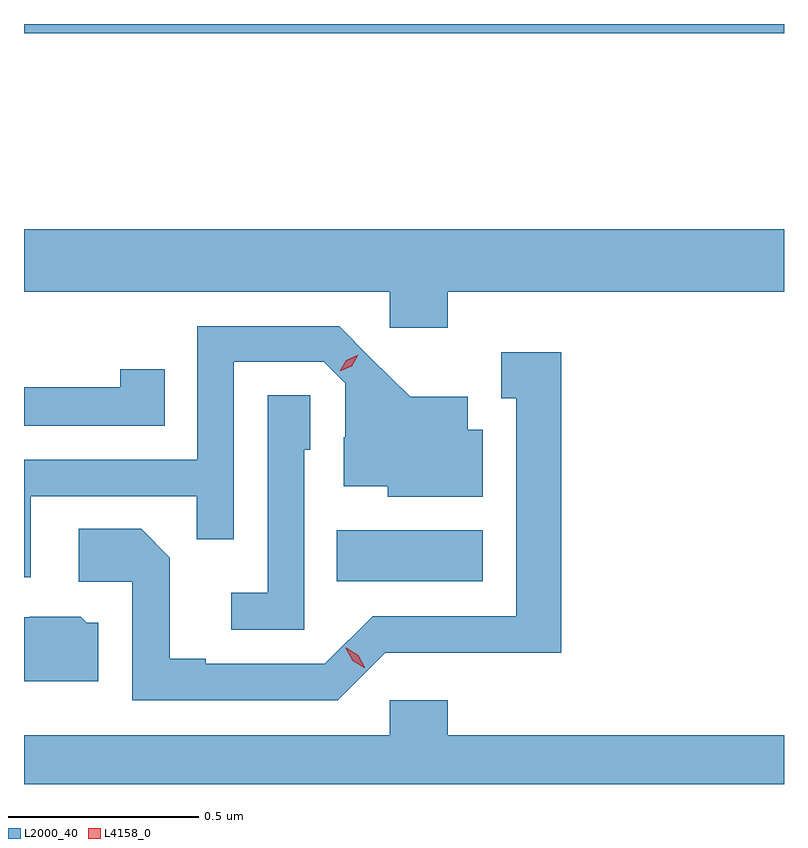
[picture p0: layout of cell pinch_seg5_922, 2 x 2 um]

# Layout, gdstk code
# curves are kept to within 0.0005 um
import gdstk
lib = gdstk.Library(unit=1e-6, precision=1e-09)
def R(c, l, rs):  # rectangles x0, y0, x1, y1
    for r in rs: c.add(gdstk.rectangle(r[:2], r[2:], *l))
def P(c, l, *ps):  # polygons
    for p in ps: c.add(gdstk.Polygon(p, *l))
L2000_40 = (2000, 40)
L4158_0 = (4158, 0)

pinch_seg5_922 = lib.new_cell('pinch_seg5_922')
R(pinch_seg5_922, L2000_40, [(738.988,897.29,739.372,897.424), (738.165,898.732,740.165,898.756)])
P(pinch_seg5_922, L2000_40, [(739.28,898.052),(740.165,898.052),(740.165,898.216),(738.165,898.216),(738.165,898.052),(739.128,898.052),(739.128,897.957),(739.28,897.957)],
  [(738.183,897.513),(738.619,897.513),(738.619,897.4),(738.717,897.4),(738.717,897.867),(738.954,897.867),(739.011,897.81),(739.011,897.668),(739.007,897.668),(739.007,897.539),(739.122,897.539),(739.122,897.512),(739.372,897.512),(739.372,897.688),(739.333,897.688),(739.333,897.775),(739.181,897.775),(738.994,897.96),(738.621,897.96),(738.621,897.609),(738.165,897.609),(738.165,897.3),(738.183,897.3)],
  [(739.116,897.102),(739.338,897.102),(739.338,897.101),(739.579,897.101),(739.579,897.892),(739.421,897.892),(739.421,897.771),(739.46,897.771),(739.46,897.198),(739.083,897.198),(738.957,897.072),(738.643,897.072),(738.643,897.085),(738.549,897.085),(738.549,897.352),(738.473,897.428),(738.309,897.428),(738.309,897.288),(738.45,897.288),(738.45,896.976),(738.99,896.976)],
  [(738.536,897.847),(738.418,897.847),(738.418,897.8),(738.165,897.8),(738.165,897.699),(738.536,897.699)],
  [(738.903,897.636),(738.918,897.636),(738.918,897.779),(738.807,897.779),(738.807,897.259),(738.711,897.259),(738.711,897.162),(738.903,897.162)],
  [(738.361,897.18),(738.33,897.18),(738.314,897.196),(738.18,897.196),(738.18,897.195),(738.165,897.195),(738.165,897.026),(738.361,897.026)],
  [(740.165,896.884),(739.28,896.884),(739.28,896.977),(739.128,896.977),(739.128,896.884),(738.165,896.884),(738.165,896.756),(740.165,896.756)])
P(pinch_seg5_922, L4158_0, [(738.996,897.842),(738.996,897.842),(739.013,897.871),(739.044,897.886),(739.045,897.886),(739.045,897.886),(739.027,897.856),(738.996,897.842)],
  [(739.061,897.062),(739.03,897.081),(739.012,897.113),(739.012,897.114),(739.013,897.114),(739.044,897.095),(739.062,897.063),(739.062,897.062)])

lib.write_gds('pinch_seg5_922.gds')
